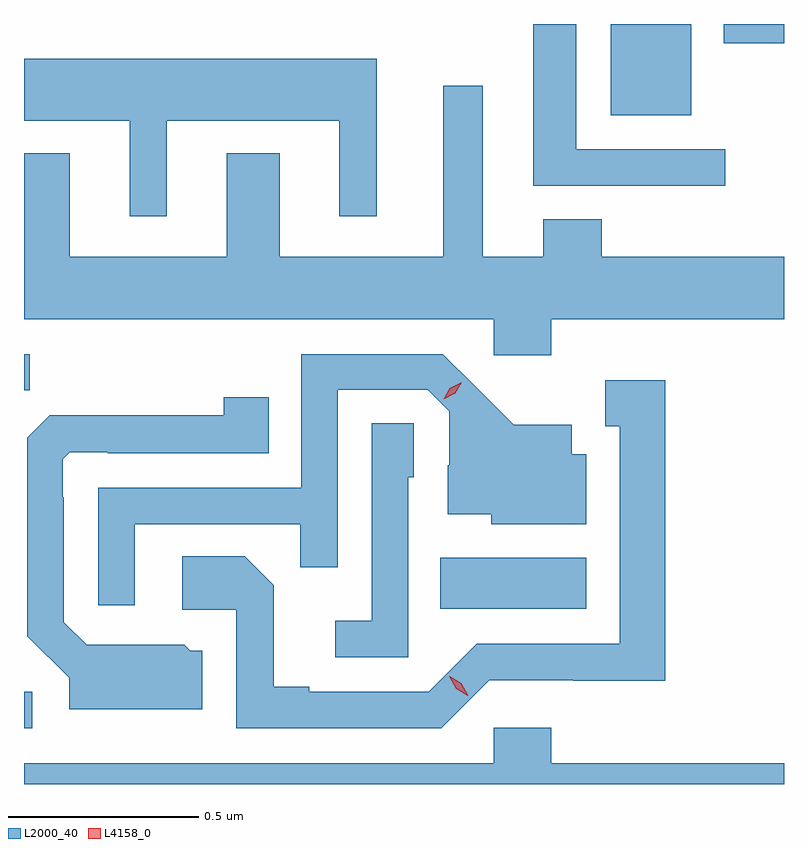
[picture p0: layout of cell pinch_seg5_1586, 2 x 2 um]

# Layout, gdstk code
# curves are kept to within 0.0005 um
import gdstk
lib = gdstk.Library(unit=1e-6, precision=1e-09)
def R(c, l, rs):  # rectangles x0, y0, x1, y1
    for r in rs: c.add(gdstk.rectangle(r[:2], r[2:], *l))
def P(c, l, *ps):  # polygons
    for p in ps: c.add(gdstk.Polygon(p, *l))
L2000_40 = (2000, 40)
L4158_0 = (4158, 0)

pinch_seg5_1586 = lib.new_cell('pinch_seg5_1586')
R(pinch_seg5_1586, L2000_40, [(304.104,849.024,304.126,849.12), (305.2,849.338,305.584,849.472), (304.104,849.913,304.119,850.008), (305.648,850.637,305.86,850.877), (305.945,850.826,306.104,850.877)])
P(pinch_seg5_1586, L2000_40, [(305.95,850.548),(305.557,850.548),(305.557,850.877),(305.444,850.877),(305.444,850.451),(305.95,850.451)],
  [(304.48,850.622),(304.934,850.622),(304.934,850.371),(305.032,850.371),(305.032,850.786),(304.104,850.786),(304.104,850.622),(304.382,850.622),(304.382,850.371),(304.48,850.371)],
  [(305.492,850.1),(306.104,850.1),(306.104,850.264),(305.624,850.264),(305.624,850.363),(305.471,850.363),(305.471,850.264),(305.311,850.264),(305.311,850.714),(305.207,850.714),(305.207,850.264),(304.777,850.264),(304.777,850.537),(304.637,850.537),(304.637,850.264),(304.225,850.264),(304.225,850.537),(304.104,850.537),(304.104,850.1),(305.34,850.1),(305.34,850.005),(305.492,850.005)],
  [(304.395,849.561),(304.831,849.561),(304.831,849.448),(304.929,849.448),(304.929,849.915),(305.166,849.915),(305.223,849.858),(305.223,849.716),(305.219,849.716),(305.219,849.587),(305.334,849.587),(305.334,849.56),(305.584,849.56),(305.584,849.745),(305.545,849.745),(305.545,849.823),(305.393,849.823),(305.206,850.008),(304.833,850.008),(304.833,849.657),(304.299,849.657),(304.299,849.348),(304.395,849.348)],
  [(305.328,849.15),(305.55,849.15),(305.55,849.149),(305.791,849.149),(305.791,849.94),(305.633,849.94),(305.633,849.819),(305.672,849.819),(305.672,849.246),(305.295,849.246),(305.169,849.12),(304.855,849.12),(304.855,849.133),(304.761,849.133),(304.761,849.4),(304.685,849.476),(304.521,849.476),(304.521,849.336),(304.662,849.336),(304.662,849.024),(305.202,849.024)],
  [(304.573,849.228),(304.542,849.228),(304.526,849.244),(304.392,849.244),(304.392,849.243),(304.269,849.243),(304.209,849.303),(304.209,849.632),(304.206,849.632),(304.206,849.732),(304.224,849.75),(304.324,849.75),(304.324,849.747),(304.748,849.747),(304.748,849.895),(304.63,849.895),(304.63,849.848),(304.273,849.848),(304.273,849.847),(304.172,849.847),(304.113,849.788),(304.113,849.266),(304.223,849.156),(304.223,849.074),(304.573,849.074)],
  [(305.115,849.684),(305.13,849.684),(305.13,849.827),(305.019,849.827),(305.019,849.307),(304.923,849.307),(304.923,849.21),(305.115,849.21)],
  [(306.104,848.932),(305.492,848.932),(305.492,849.025),(305.34,849.025),(305.34,848.932),(304.104,848.932),(304.104,848.877),(306.104,848.877)])
P(pinch_seg5_1586, L4158_0, [(305.272,849.109),(305.241,849.128),(305.223,849.161),(305.223,849.161),(305.224,849.161),(305.255,849.142),(305.273,849.109),(305.273,849.109)],
  [(305.208,849.889),(305.208,849.889),(305.225,849.919),(305.256,849.934),(305.256,849.934),(305.256,849.934),(305.239,849.905),(305.209,849.889)])

lib.write_gds('pinch_seg5_1586.gds')
